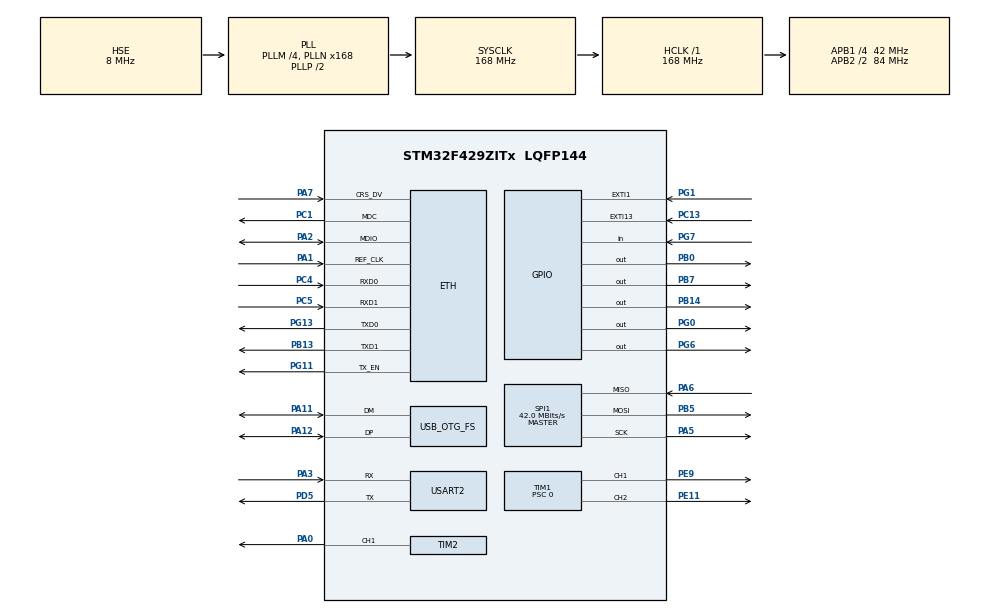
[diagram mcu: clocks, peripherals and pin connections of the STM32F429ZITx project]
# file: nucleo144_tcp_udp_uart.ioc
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ADC1.Channel-12\#ChannelRegularConversion=ADC_CHANNEL_TEMPSENSOR
ADC1.ClockPrescaler=ADC_CLOCK_SYNC_PCLK_DIV4
ADC1.ContinuousConvMode=DISABLE
ADC1.DMAContinuousRequests=DISABLE
ADC1.DataAlign=ADC_DATAALIGN_RIGHT
ADC1.DiscontinuousConvMode=DISABLE
ADC1.EOCSelection=ADC_EOC_SINGLE_CONV
ADC1.EnableAnalogWatchDog=false
ADC1.ExternalTrigConv=ADC_SOFTWARE_START
ADC1.ExternalTrigConvEdge=ADC_EXTERNALTRIGCONVEDGE_NONE
ADC1.InjNumberOfConversion=0
ADC1.NbrOfConversion=1
ADC1.NbrOfConversionFlag=1
ADC1.Rank-12\#ChannelRegularConversion=1
ADC1.Resolution=ADC_RESOLUTION_12B
ADC1.SamplingTime-12\#ChannelRegularConversion=ADC_SAMPLETIME_3CYCLES
ADC1.ScanConvMode=DISABLE
ADC1.master=1
Dma.ADC1.4.Direction=DMA_PERIPH_TO_MEMORY
Dma.ADC1.4.FIFOMode=DMA_FIFOMODE_DISABLE
Dma.ADC1.4.Instance=DMA2_Stream4
Dma.ADC1.4.MemDataAlignment=DMA_MDATAALIGN_HALFWORD
Dma.ADC1.4.MemInc=DMA_MINC_ENABLE
Dma.ADC1.4.Mode=DMA_NORMAL
Dma.ADC1.4.PeriphDataAlignment=DMA_PDATAALIGN_HALFWORD
Dma.ADC1.4.PeriphInc=DMA_PINC_DISABLE
Dma.ADC1.4.Priority=DMA_PRIORITY_LOW
Dma.Request0=SPI1_TX
Dma.Request1=SPI1_RX
Dma.Request2=USART2_RX
Dma.Request3=USART2_TX
Dma.Request4=ADC1
Dma.SPI1_RX.1.Direction=DMA_PERIPH_TO_MEMORY
Dma.SPI1_RX.1.FIFOMode=DMA_FIFOMODE_ENABLE
Dma.SPI1_RX.1.FIFOThreshold=DMA_FIFO_THRESHOLD_FULL
Dma.SPI1_RX.1.Instance=DMA2_Stream0
Dma.SPI1_RX.1.MemBurst=DMA_MBURST_SINGLE
Dma.SPI1_RX.1.MemDataAlignment=DMA_MDATAALIGN_BYTE
Dma.SPI1_RX.1.MemInc=DMA_MINC_ENABLE
Dma.SPI1_RX.1.Mode=DMA_NORMAL
Dma.SPI1_RX.1.PeriphBurst=DMA_PBURST_SINGLE
Dma.SPI1_RX.1.PeriphDataAlignment=DMA_PDATAALIGN_BYTE
Dma.SPI1_RX.1.PeriphInc=DMA_PINC_DISABLE
Dma.SPI1_RX.1.Priority=DMA_PRIORITY_HIGH
Dma.SPI1_TX.0.Direction=DMA_MEMORY_TO_PERIPH
Dma.SPI1_TX.0.FIFOMode=DMA_FIFOMODE_ENABLE
Dma.SPI1_TX.0.FIFOThreshold=DMA_FIFO_THRESHOLD_FULL
Dma.SPI1_TX.0.Instance=DMA2_Stream3
Dma.SPI1_TX.0.MemBurst=DMA_MBURST_SINGLE
Dma.SPI1_TX.0.MemDataAlignment=DMA_MDATAALIGN_BYTE
Dma.SPI1_TX.0.MemInc=DMA_MINC_ENABLE
Dma.SPI1_TX.0.Mode=DMA_NORMAL
Dma.SPI1_TX.0.PeriphBurst=DMA_PBURST_SINGLE
Dma.SPI1_TX.0.PeriphDataAlignment=DMA_PDATAALIGN_BYTE
Dma.SPI1_TX.0.PeriphInc=DMA_PINC_DISABLE
Dma.SPI1_TX.0.Priority=DMA_PRIORITY_HIGH
Dma.USART2_RX.2.Direction=DMA_PERIPH_TO_MEMORY
Dma.USART2_RX.2.FIFOMode=DMA_FIFOMODE_DISABLE
Dma.USART2_RX.2.Instance=DMA1_Stream5
Dma.USART2_RX.2.MemDataAlignment=DMA_MDATAALIGN_BYTE
Dma.USART2_RX.2.MemInc=DMA_MINC_ENABLE
Dma.USART2_RX.2.Mode=DMA_CIRCULAR
Dma.USART2_RX.2.PeriphDataAlignment=DMA_PDATAALIGN_BYTE
Dma.USART2_RX.2.PeriphInc=DMA_PINC_DISABLE
Dma.USART2_RX.2.Priority=DMA_PRIORITY_LOW
Dma.USART2_TX.3.Direction=DMA_MEMORY_TO_PERIPH
Dma.USART2_TX.3.FIFOMode=DMA_FIFOMODE_DISABLE
Dma.USART2_TX.3.Instance=DMA1_Stream6
Dma.USART2_TX.3.MemDataAlignment=DMA_MDATAALIGN_BYTE
Dma.USART2_TX.3.MemInc=DMA_MINC_ENABLE
Dma.USART2_TX.3.Mode=DMA_NORMAL
Dma.USART2_TX.3.PeriphDataAlignment=DMA_PDATAALIGN_BYTE
Dma.USART2_TX.3.PeriphInc=DMA_PINC_DISABLE
Dma.USART2_TX.3.Priority=DMA_PRIORITY_LOW
ETH.MediaInterface=ETH_MEDIA_INTERFACE_RMII
ETH.PhyAddress=0
FREERTOS.BinarySemaphores01=myBinarySem01_SPI1T,Dynamic,NULL;myBinarySem02_USART2T,Dynamic,NULL;myBinarySem03_USART2R,Dynamic,NULL
FREERTOS.Tasks01=defaultTask,0,256,StartDefaultTask,Default,NULL,Dynamic,NULL,NULL;myTask02,2,128,StartTask02,Default,NULL,Dynamic,NULL,NULL;myTask03,-3,512,StartTask03,Default,NULL,Dynamic,NULL,NULL;myTask04,-3,128,StartTask04,Default,NULL,Dynamic,NULL,NULL
FREERTOS.configMINIMAL_STACK_SIZE=128
LWIP.GATEWAY_ADDRESS=192.168.003.001
LWIP.IP_ADDRESS=192.168.003.220
LWIP.LWIP_DHCP=0
LWIP.LWIP_NETIF_LINK_CALLBACK=1
LWIP.LWIP_TFTP=1
LWIP.NETMASK_ADDRESS=255.255.255.000
LWIP.TFTP_MAX_FILENAME_LEN=40
LWIP.Version=v2.0.0_Cube
Mcu.Family=STM32F4
Mcu.Name=STM32F429ZITx
Mcu.Package=LQFP144
NVIC.DMA1_Stream5_IRQn=true\:5\:0\:false\:false\:true\:true\:false
NVIC.DMA1_Stream6_IRQn=true\:5\:0\:false\:false\:true\:true\:false
NVIC.DMA2_Stream0_IRQn=true\:5\:0\:false\:false\:true\:true\:false
NVIC.DMA2_Stream3_IRQn=true\:5\:0\:false\:false\:true\:true\:false
NVIC.DMA2_Stream4_IRQn=true\:5\:0\:false\:false\:true\:true\:false
NVIC.ETH_IRQn=true\:5\:0\:false\:false\:true\:true\:false
NVIC.EXTI1_IRQn=true\:5\:0\:false\:false\:true\:true\:true
NVIC.OTG_FS_IRQn=true\:5\:0\:false\:false\:true\:true\:false
NVIC.PriorityGroup=NVIC_PRIORITYGROUP_4
NVIC.SPI1_IRQn=true\:5\:0\:false\:false\:true\:true\:true
NVIC.USART2_IRQn=true\:5\:0\:false\:false\:true\:true\:true
PA0/WKUP.Signal=S_TIM2_CH1_ETR
PA1.GPIO_Mode=GPIO_MODE_AF_PP
PA1.GPIO_PuPd=GPIO_NOPULL
PA1.GPIO_Speed=GPIO_SPEED_FREQ_VERY_HIGH
PA1.Mode=RMII
PA1.Signal=ETH_REF_CLK
PA10.GPIO_Mode=GPIO_MODE_AF_PP
PA10.GPIO_PuPd=GPIO_NOPULL
PA10.GPIO_Speed=GPIO_SPEED_FREQ_VERY_HIGH
PA10.Signal=USB_OTG_FS_ID
PA11.GPIO_Mode=GPIO_MODE_AF_PP
PA11.GPIO_PuPd=GPIO_NOPULL
PA11.GPIO_Speed=GPIO_SPEED_FREQ_VERY_HIGH
PA11.Mode=Device_Only
PA11.Signal=USB_OTG_FS_DM
PA12.GPIO_Mode=GPIO_MODE_AF_PP
PA12.GPIO_PuPd=GPIO_NOPULL
PA12.GPIO_Speed=GPIO_SPEED_FREQ_VERY_HIGH
PA12.Mode=Device_Only
PA12.Signal=USB_OTG_FS_DP
PA13.Mode=Serial_Wire
PA13.Signal=SYS_JTMS-SWDIO
PA14.Mode=Serial_Wire
PA14.Signal=SYS_JTCK-SWCLK
PA2.GPIO_Mode=GPIO_MODE_AF_PP
PA2.GPIO_PuPd=GPIO_NOPULL
PA2.GPIO_Speed=GPIO_SPEED_FREQ_VERY_HIGH
PA2.Mode=RMII
PA2.Signal=ETH_MDIO
PA3.Mode=Asynchronous
PA3.Signal=USART2_RX
PA5.Mode=Full_Duplex_Master
PA5.Signal=SPI1_SCK
PA6.Mode=Full_Duplex_Master
PA6.Signal=SPI1_MISO
PA7.GPIO_Mode=GPIO_MODE_AF_PP
PA7.GPIO_PuPd=GPIO_NOPULL
PA7.GPIO_Speed=GPIO_SPEED_FREQ_VERY_HIGH
PA7.Mode=RMII
PA7.Signal=ETH_CRS_DV
PA8.GPIO_Mode=GPIO_MODE_AF_PP
PA8.GPIO_PuPd=GPIO_NOPULL
PA8.GPIO_Speed=GPIO_SPEED_FREQ_VERY_HIGH
PA8.Signal=USB_OTG_FS_SOF
PA9.GPIO_Mode=GPIO_MODE_INPUT
PA9.GPIO_PuPd=GPIO_NOPULL
PA9.Signal=USB_OTG_FS_VBUS
PB0.Signal=GPIO_Output
PB13.GPIO_Mode=GPIO_MODE_AF_PP
PB13.GPIO_PuPd=GPIO_NOPULL
PB13.GPIO_Speed=GPIO_SPEED_FREQ_VERY_HIGH
PB13.Mode=RMII
PB13.Signal=ETH_TXD1
PB14.GPIO_ModeDefaultOutputPP=GPIO_MODE_OUTPUT_PP
PB14.GPIO_PuPd=GPIO_NOPULL
PB14.GPIO_Speed=GPIO_SPEED_FREQ_LOW
PB14.PinState=GPIO_PIN_RESET
PB14.Signal=GPIO_Output
PB5.Mode=Full_Duplex_Master
PB5.Signal=SPI1_MOSI
PB7.Signal=GPIO_Output
PC1.GPIO_Mode=GPIO_MODE_AF_PP
PC1.GPIO_PuPd=GPIO_NOPULL
PC1.GPIO_Speed=GPIO_SPEED_FREQ_VERY_HIGH
PC1.Mode=RMII
PC1.Signal=ETH_MDC
PC13.GPIO_ModeDefaultEXTI=GPIO_MODE_IT_RISING
PC13.GPIO_PuPd=GPIO_NOPULL
PC13.Signal=GPXTI13
PC14/OSC32_IN.Mode=LSE-External-Oscillator
PC14/OSC32_IN.Signal=RCC_OSC32_IN
PC15/OSC32_OUT.Mode=LSE-External-Oscillator
PC15/OSC32_OUT.Signal=RCC_OSC32_OUT
PC4.GPIO_Mode=GPIO_MODE_AF_PP
PC4.GPIO_PuPd=GPIO_NOPULL
PC4.GPIO_Speed=GPIO_SPEED_FREQ_VERY_HIGH
PC4.Mode=RMII
PC4.Signal=ETH_RXD0
PC5.GPIO_Mode=GPIO_MODE_AF_PP
PC5.GPIO_PuPd=GPIO_NOPULL
PC5.GPIO_Speed=GPIO_SPEED_FREQ_VERY_HIGH
PC5.Mode=RMII
PC5.Signal=ETH_RXD1
PD5.Mode=Asynchronous
PD5.Signal=USART2_TX
PD8.GPIO_Mode=GPIO_MODE_AF_PP
PD8.GPIO_PuPd=GPIO_NOPULL
PD8.GPIO_Speed=GPIO_SPEED_FREQ_VERY_HIGH
PD8.Signal=USART3_TX
PD9.GPIO_Mode=GPIO_MODE_AF_PP
PD9.GPIO_PuPd=GPIO_NOPULL
PD9.GPIO_Speed=GPIO_SPEED_FREQ_VERY_HIGH
PD9.Signal=USART3_RX
PE11.GPIO_Speed=GPIO_SPEED_FREQ_HIGH
PE11.Signal=S_TIM1_CH2
PE9.GPIO_PuPd=GPIO_PULLUP
PE9.GPIO_Speed=GPIO_SPEED_FREQ_HIGH
PE9.Signal=S_TIM1_CH1
PG0.Signal=GPIO_Output
PG1.GPIO_ModeDefaultEXTI=GPIO_MODE_IT_RISING
PG1.Signal=GPXTI1
PG11.GPIO_Mode=GPIO_MODE_AF_PP
PG11.GPIO_PuPd=GPIO_NOPULL
PG11.GPIO_Speed=GPIO_SPEED_FREQ_VERY_HIGH
PG11.Mode=RMII
PG11.Signal=ETH_TX_EN
PG13.GPIO_Mode=GPIO_MODE_AF_PP
PG13.GPIO_PuPd=GPIO_NOPULL
PG13.GPIO_Speed=GPIO_SPEED_FREQ_VERY_HIGH
PG13.Mode=RMII
PG13.Signal=ETH_TXD0
PG6.GPIO_ModeDefaultOutputPP=GPIO_MODE_OUTPUT_PP
PG6.GPIO_PuPd=GPIO_NOPULL
PG6.GPIO_Speed=GPIO_SPEED_FREQ_LOW
PG6.PinState=GPIO_PIN_RESET
PG6.Signal=GPIO_Output
PG7.GPIO_Mode=GPIO_MODE_INPUT
PG7.GPIO_PuPd=GPIO_NOPULL
PG7.Signal=GPIO_Input
PH0/OSC_IN.Mode=HSE-External-Oscillator
PH0/OSC_IN.Signal=RCC_OSC_IN
PH1/OSC_OUT.Mode=HSE-External-Oscillator
PH1/OSC_OUT.Signal=RCC_OSC_OUT
ProjectManager.HeapSize=0x200
ProjectManager.StackSize=0x400
ProjectManager.TargetToolchain=SW4STM32
RCC.48MHZClocksFreq_Value=48000000
RCC.AHBFreq_Value=168000000
RCC.APB1CLKDivider=RCC_HCLK_DIV4
RCC.APB1Freq_Value=42000000
RCC.APB1TimFreq_Value=84000000
RCC.APB2CLKDivider=RCC_HCLK_DIV2
RCC.APB2Freq_Value=84000000
RCC.APB2TimFreq_Value=168000000
RCC.CortexFreq_Value=168000000
RCC.HCLKFreq_Value=168000000
RCC.HSE_VALUE=8000000
RCC.HSI_VALUE=16000000
RCC.PLLM=4
RCC.PLLMUL=RCC_PLL_MUL9
RCC.PLLN=168
RCC.PLLQ=7
RCC.PRESCALERUSB=RCC_USBCLKSOURCE_PLL_DIV1_5
RCC.RCC_RTC_Clock_Source=RCC_RTCCLKSOURCE_LSE
RCC.RCC_RTC_Clock_SourceVirtual=RCC_RTCCLKSOURCE_LSE
RCC.SYSCLKFreq_VALUE=168000000
RCC.SYSCLKSource=RCC_SYSCLKSOURCE_PLLCLK
RCC.SYSCLKSourceVirtual=RCC_SYSCLKSOURCE_PLLCLK
RCC.USBFreq_Value=48000000
RCC.VCOOutputFreq_Value=336000000
RTC.Alarm=RTC_ALARM_A
SH.S_TIM1_CH1.0=TIM1_CH1,Output Compare1 CH1
SH.S_TIM1_CH2.0=TIM1_CH2,PWM Generation2 CH2
SH.S_TIM2_CH1_ETR.0=TIM2_CH1,Output Compare1 CH1
SPI1.CalculateBaudRate=42.0 MBits/s
SPI1.Direction=SPI_DIRECTION_2LINES
SPI1.Mode=SPI_MODE_MASTER
SPI1.VirtualType=VM_MASTER
TIM1.AutomaticOutput=TIM_AUTOMATICOUTPUT_ENABLE
TIM1.Channel-Output\ Compare1\ CH1=TIM_CHANNEL_1
TIM1.Channel-PWM\ Generation2\ CH2=TIM_CHANNEL_2
TIM1.ClockDivision=TIM_CLOCKDIVISION_DIV1
TIM1.OCFastMode_PWM-PWM\ Generation2\ CH2=TIM_OCFAST_ENABLE
TIM1.OCMode_1=TIM_OCMODE_TOGGLE
TIM1.Period=84
TIM1.Prescaler=0
TIM1.Pulse-PWM\ Generation2\ CH2=15
TIM2.Channel-Output\ Compare1\ CH1=TIM_CHANNEL_1
TIM2.OCMode_1=TIM_OCMODE_TOGGLE
TIM2.Period=42
TIM2.Prescaler=1000
USART2.VirtualMode=VM_ASYNC
USB_DEVICE.CLASS_NAME_FS=CDC
USB_DEVICE.VirtualMode-CDC_FS=Cdc
USB_DEVICE.VirtualModeFS=Cdc_FS
USB_OTG_FS.VirtualMode=Device_Only
VP_ADC1_TempSens_Input.Mode=IN-TempSens
VP_FREERTOS_VS_ENABLE.Mode=Enabled
VP_LWIP_VS_Enabled.Mode=Enabled
VP_RTC_VS_RTC_Activate.Mode=RTC_Enabled
VP_RTC_VS_RTC_Alarm_A_Intern.Mode=Alarm A
VP_RTC_VS_RTC_Calendar.Mode=RTC_Calendar
VP_TIM1_VS_ClockSourceINT.Mode=Internal
VP_TIM2_VS_ClockSourceINT.Mode=Internal
VP_USB_DEVICE_VS_USB_DEVICE_CDC_FS.Mode=CDC_FS
VP_WWDG_VS_WWDG.Mode=WWDG_Activate
WWDG.Counter=127
WWDG.Prescaler=WWDG_PRESCALER_8
WWDG.Window=127
board=NUCLEO-F429ZI

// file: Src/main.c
/**
  ******************************************************************************
  * File Name          : main.c
  * Description        : Main program body
  ******************************************************************************
  * This notice applies to any and all portions of this file
  * that are not between comment pairs USER CODE BEGIN and
  * USER CODE END. Other portions of this file, whether
  * inserted by the user or by software development tools
  * are owned by their respective copyright owners.
  *
  * Copyright (c) 2019 STMicroelectronics International N.V.
  * All rights reserved.
  *
  * Redistribution and use in source and binary forms, with or without
  * modification, are permitted, provided that the following conditions are met:
  *
  * 1. Redistribution of source code must retain the above copyright notice,
  *    this list of conditions and the following disclaimer.
  * 2. Redistributions in binary form must reproduce the above copyright notice,
  *    this list of conditions and the following disclaimer in the documentation
  *    and/or other materials provided with the distribution.
  * 3. Neither the name of STMicroelectronics nor the names of other
  *    contributors to this software may be used to endorse or promote products
  *    derived from this software without specific written permission.
  * 4. This software, including modifications and/or derivative works of this
  *    software, must execute solely and exclusively on microcontroller or
  *    microprocessor devices manufactured by or for STMicroelectronics.
  * 5. Redistribution and use of this software other than as permitted under
  *    this license is void and will automatically terminate your rights under
  *    this license.
  *
  * THIS SOFTWARE IS PROVIDED BY STMICROELECTRONICS AND CONTRIBUTORS "AS IS"
  * AND ANY EXPRESS, IMPLIED OR STATUTORY WARRANTIES, INCLUDING, BUT NOT
  * LIMITED TO, THE IMPLIED WARRANTIES OF MERCHANTABILITY, FITNESS FOR A
  * PARTICULAR PURPOSE AND NON-INFRINGEMENT OF THIRD PARTY INTELLECTUAL PROPERTY
  * RIGHTS ARE DISCLAIMED TO THE FULLEST EXTENT PERMITTED BY LAW. IN NO EVENT
  * SHALL STMICROELECTRONICS OR CONTRIBUTORS BE LIABLE FOR ANY DIRECT, INDIRECT,
  * INCIDENTAL, SPECIAL, EXEMPLARY, OR CONSEQUENTIAL DAMAGES (INCLUDING, BUT NOT
  * LIMITED TO, PROCUREMENT OF SUBSTITUTE GOODS OR SERVICES; LOSS OF USE, DATA,
  * OR PROFITS; OR BUSINESS INTERRUPTION) HOWEVER CAUSED AND ON ANY THEORY OF
  * LIABILITY, WHETHER IN CONTRACT, STRICT LIABILITY, OR TORT (INCLUDING
  * NEGLIGENCE OR OTHERWISE) ARISING IN ANY WAY OUT OF THE USE OF THIS SOFTWARE,
  * EVEN IF ADVISED OF THE POSSIBILITY OF SUCH DAMAGE.
  *
  ******************************************************************************
  */

#include "main.h"
#include "stm32f4xx_hal.h"
#include "cmsis_os.h"
#include "adc.h"
#include "dma.h"
#include "lwip.h"
#include "rtc.h"
#include "spi.h"
#include "tim.h"
#include "usart.h"
#include "usb_device.h"
#include "wwdg.h"
#include "gpio.h"

/* USER CODE BEGIN Includes */
#include "tftpserver.h"
#include "storage.h"
#include "stm32f4xx_hal_rtc_ex.h" //recommended for rtc
#include "rtc.h"
/* USER CODE END Includes */

/* USER CODE BEGIN PV */
/* Private variables ---------------------------------------------------------*/
unsigned long LocalTime = 0; /* this variable is used to create a time reference incremented by 10ms */
/* USER CODE END PV */

void SystemClock_Config(void);
void MX_FREERTOS_Init(void);

/* USER CODE BEGIN PFP */
/* Private function prototypes -----------------------------------------------*/
#define SYSTEMTICK_PERIOD_MS  1
/* USER CODE END PFP */

/* USER CODE BEGIN 0 */
void NVIC_SetVectorTable(unsigned long NVIC_VectTab, unsigned long Offset) {
         SCB->VTOR = NVIC_VectTab | (Offset & (unsigned int)0x1FFFFF80);
 }
void Time_Update(void)
{
  LocalTime += SYSTEMTICK_PERIOD_MS;
}
void printfp(char * c) {
		HAL_UART_Transmit_DMA(&huart2,  c, strlen(c));
}
void printfpd(char * c, unsigned long d) {
	char b[100];
	sprintf(b,c,d);
	printfp(b);
}
/* USER CODE END 0 */

int main(void)
{

  /* USER CODE BEGIN 1 */
	Reset = 0;
	write_cnt = 0;
  /* USER CODE END 1 */

  /* MCU Configuration----------------------------------------------------------*/

  /* Reset of all peripherals, Initializes the Flash interface and the Systick. */
  HAL_Init();

  /* Configure the system clock */
  SystemClock_Config();

  /* Initialize all configured peripherals */
  MX_GPIO_Init();
  MX_DMA_Init();
  MX_SPI1_Init();
  MX_USART2_UART_Init();
  MX_WWDG_Init();
  MX_RTC_Init();
  MX_ADC1_Init();
  MX_TIM1_Init();
  MX_TIM2_Init();

  /* USER CODE BEGIN 2 */
  NVIC_SetVectorTable(NVIC_VectTab_FLASH, USER_FLASH_FIRST_PAGE_ADDRESS);
  HAL_RTCEx_EnableBypassShadow(&hrtc);  //recommended for rtc
  ReadStorage();  //for have property mac
  //HAL_TIM_Base_Start(&htim1);
  HAL_TIM_OC_Start(&htim1, TIM_CHANNEL_1); //output compare mode
  //HAL_TIM_PWM_Start(&htim1, TIM_CHANNEL_1);
  HAL_TIM_PWM_Start(&htim1, TIM_CHANNEL_2); //pwm mode
  HAL_TIM_OC_Start(&htim2, TIM_CHANNEL_1); //output compare mode
  /* USER CODE END 2 */

  /* Call init function for freertos objects (in freertos.c) */
  MX_FREERTOS_Init();

  /* Start scheduler */
  osKernelStart();

  /* We should never get here as control is now taken by the scheduler */

  /* Infinite loop */
  while (1)
  {

  }

}

/** System Clock Configuration
*/
void SystemClock_Config(void)
{

  RCC_OscInitTypeDef RCC_OscInitStruct;
  RCC_ClkInitTypeDef RCC_ClkInitStruct;
  RCC_PeriphCLKInitTypeDef PeriphClkInitStruct;

    /**Configure the main internal regulator output voltage
    */
  __HAL_RCC_PWR_CLK_ENABLE();

  __HAL_PWR_VOLTAGESCALING_CONFIG(PWR_REGULATOR_VOLTAGE_SCALE1);

    /**Initializes the CPU, AHB and APB busses clocks
    */
  RCC_OscInitStruct.OscillatorType = RCC_OSCILLATORTYPE_HSE|RCC_OSCILLATORTYPE_LSE;
  RCC_OscInitStruct.HSEState = RCC_HSE_ON;
  RCC_OscInitStruct.LSEState = RCC_LSE_ON;
  RCC_OscInitStruct.PLL.PLLState = RCC_PLL_ON;
  RCC_OscInitStruct.PLL.PLLSource = RCC_PLLSOURCE_HSE;
  RCC_OscInitStruct.PLL.PLLM = 4;
  RCC_OscInitStruct.PLL.PLLN = 168;
  RCC_OscInitStruct.PLL.PLLP = RCC_PLLP_DIV2;
  RCC_OscInitStruct.PLL.PLLQ = 7;
  if (HAL_RCC_OscConfig(&RCC_OscInitStruct) != HAL_OK)
  {
    _Error_Handler(__FILE__, __LINE__);
  }

    /**Initializes the CPU, AHB and APB busses clocks
    */
  RCC_ClkInitStruct.ClockType = RCC_CLOCKTYPE_HCLK|RCC_CLOCKTYPE_SYSCLK
                              |RCC_CLOCKTYPE_PCLK1|RCC_CLOCKTYPE_PCLK2;
  RCC_ClkInitStruct.SYSCLKSource = RCC_SYSCLKSOURCE_PLLCLK;
  RCC_ClkInitStruct.AHBCLKDivider = RCC_SYSCLK_DIV1;
  RCC_ClkInitStruct.APB1CLKDivider = RCC_HCLK_DIV4;
  RCC_ClkInitStruct.APB2CLKDivider = RCC_HCLK_DIV2;

  if (HAL_RCC_ClockConfig(&RCC_ClkInitStruct, FLASH_LATENCY_5) != HAL_OK)
  {
    _Error_Handler(__FILE__, __LINE__);
  }

  PeriphClkInitStruct.PeriphClockSelection = RCC_PERIPHCLK_RTC;
  PeriphClkInitStruct.RTCClockSelection = RCC_RTCCLKSOURCE_LSE;
  if (HAL_RCCEx_PeriphCLKConfig(&PeriphClkInitStruct) != HAL_OK)
  {
    _Error_Handler(__FILE__, __LINE__);
  }

    /**Configure the Systick interrupt time
    */
  HAL_SYSTICK_Config(HAL_RCC_GetHCLKFreq()/1000);

    /**Configure the Systick
    */
  HAL_SYSTICK_CLKSourceConfig(SYSTICK_CLKSOURCE_HCLK);

  /* SysTick_IRQn interrupt configuration */
  HAL_NVIC_SetPriority(SysTick_IRQn, 15, 0);
}

void _Error_Handler(char * file, int line)
{
  while(1)
  {
  }
}

/************************ (C) COPYRIGHT STMicroelectronics *****END OF FILE****/

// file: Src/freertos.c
/**
  ******************************************************************************
  * File Name          : freertos.c
  * Description        : Code for freertos applications
  ******************************************************************************
  * This notice applies to any and all portions of this file
  * that are not between comment pairs USER CODE BEGIN and
  * USER CODE END. Other portions of this file, whether
  * inserted by the user or by software development tools
  * are owned by their respective copyright owners.
  *
  * Copyright (c) 2019 STMicroelectronics International N.V.
  * All rights reserved.
  *
  * Redistribution and use in source and binary forms, with or without
  * modification, are permitted, provided that the following conditions are met:
  *
  * 1. Redistribution of source code must retain the above copyright notice,
  *    this list of conditions and the following disclaimer.
  * 2. Redistributions in binary form must reproduce the above copyright notice,
  *    this list of conditions and the following disclaimer in the documentation
  *    and/or other materials provided with the distribution.
  * 3. Neither the name of STMicroelectronics nor the names of other
  *    contributors to this software may be used to endorse or promote products
  *    derived from this software without specific written permission.
  * 4. This software, including modifications and/or derivative works of this
  *    software, must execute solely and exclusively on microcontroller or
  *    microprocessor devices manufactured by or for STMicroelectronics.
  * 5. Redistribution and use of this software other than as permitted under
  *    this license is void and will automatically terminate your rights under
  *    this license.
  *
  * THIS SOFTWARE IS PROVIDED BY STMICROELECTRONICS AND CONTRIBUTORS "AS IS"
  * AND ANY EXPRESS, IMPLIED OR STATUTORY WARRANTIES, INCLUDING, BUT NOT
  * LIMITED TO, THE IMPLIED WARRANTIES OF MERCHANTABILITY, FITNESS FOR A
  * PARTICULAR PURPOSE AND NON-INFRINGEMENT OF THIRD PARTY INTELLECTUAL PROPERTY
  * RIGHTS ARE DISCLAIMED TO THE FULLEST EXTENT PERMITTED BY LAW. IN NO EVENT
  * SHALL STMICROELECTRONICS OR CONTRIBUTORS BE LIABLE FOR ANY DIRECT, INDIRECT,
  * INCIDENTAL, SPECIAL, EXEMPLARY, OR CONSEQUENTIAL DAMAGES (INCLUDING, BUT NOT
  * LIMITED TO, PROCUREMENT OF SUBSTITUTE GOODS OR SERVICES; LOSS OF USE, DATA,
  * OR PROFITS; OR BUSINESS INTERRUPTION) HOWEVER CAUSED AND ON ANY THEORY OF
  * LIABILITY, WHETHER IN CONTRACT, STRICT LIABILITY, OR TORT (INCLUDING
  * NEGLIGENCE OR OTHERWISE) ARISING IN ANY WAY OUT OF THE USE OF THIS SOFTWARE,
  * EVEN IF ADVISED OF THE POSSIBILITY OF SUCH DAMAGE.
  *
  ******************************************************************************
  */

#include "FreeRTOS.h"
#include "task.h"
#include "cmsis_os.h"

/* USER CODE BEGIN Includes */

#include "stm32f4xx_hal.h"
#include "lwip/opt.h"
#include "lwip/arch.h"
#include "lwip/opt.h"
#include "lwip/api.h"
#include "lwip.h"
#include "lwip/inet.h"
#include "lwip/sockets.h"
#include "string.h"
#include "spi.h"
#include "usart.h"
#include "adc.h"
#include "tim.h"
#include "rtc.h"

//#include "stm32f4xx_dma.h"
//#include "Trace.h"

#define  MY_UDP_PORT		(7)
/* USER CODE END Includes */

osThreadId defaultTaskHandle;
osThreadId myTask02Handle;
osThreadId myTask03Handle;
osThreadId myTask04Handle;
osSemaphoreId myBinarySem01_SPI1THandle;
osSemaphoreId myBinarySem02_USART2THandle;
osSemaphoreId myBinarySem03_USART2RHandle;

/* USER CODE BEGIN Variables */
//uint8_t testDataToReceiveU[U2_BUFF_SIZE];
//uint16_t u2cnt;
//uint8_t RB;
#define TIME_WAIT_JUMP  (7500)//  (10000)

#define 	NVIC_VectTab_FLASH   ((uint32_t)0x08000000)
typedef  void (*pFunction)(void);
pFunction Jump_To_Application;
uint32_t JumpAddress;
char RcvBuff[RCV_BUFF_SIZE];
char TrBuff[TR_BUFF_SIZE];
unsigned long counter = 0;
//uint8_t flag_rcv = 0;
/* USER CODE END Variables */

void StartDefaultTask(void const * argument);
void StartTask02(void const * argument);
void StartTask03(void const * argument);
void StartTask04(void const * argument);

extern void MX_USB_DEVICE_Init(void);
extern void MX_LWIP_Init(void);
void MX_FREERTOS_Init(void); /* (MISRA C 2004 rule 8.1) */

/* USER CODE BEGIN FunctionPrototypes */
static void udp_thread(void *arg);
extern uint8_t CDC_Transmit_FS(uint8_t* Buf, uint16_t Len);
//static void udp_thread1(void *arg);
void CheckWriteStorage(void) {
	if(write_cnt) write_cnt--;
	if(write_cnt == 1) WriteStorage();
}

#define tV_25   0.76f //1.34f      //  25 °C.
#define tSlope  0.0025f //0.0043f    // du(V) / dt(grad).
#define Vref    3.3f       // ADC (v).

int32_t CalcTemp(uint32_t data){
	int32_t ret;
double temp;
  //ok  temp = (float)data;
     temp = (double) ((double)data * (double)Vref)/(double)4096;
 //    temp = (tV_25-temp)/tSlope + 25;
     temp = (temp - tV_25)/tSlope + 25;
 //    temp = temp * 16;
    // temp = -0.1;
     ret =(int32_t)temp;
return ret; //(int32_t)data;
}
/* USER CODE END FunctionPrototypes */

/* Hook prototypes */

/* Init FreeRTOS */

void MX_FREERTOS_Init(void) {

  /* Create the semaphores(s) */
  /* definition and creation of myBinarySem01_SPI1T */
  osSemaphoreDef(myBinarySem01_SPI1T);
  myBinarySem01_SPI1THandle = osSemaphoreCreate(osSemaphore(myBinarySem01_SPI1T), 1);

  /* definition and creation of myBinarySem02_USART2T */
  osSemaphoreDef(myBinarySem02_USART2T);
  myBinarySem02_USART2THandle = osSemaphoreCreate(osSemaphore(myBinarySem02_USART2T), 1);

  /* definition and creation of myBinarySem03_USART2R */
  osSemaphoreDef(myBinarySem03_USART2R);
  myBinarySem03_USART2RHandle = osSemaphoreCreate(osSemaphore(myBinarySem03_USART2R), 1);

  /* Create the thread(s) */
  /* definition and creation of defaultTask */
  osThreadDef(defaultTask, StartDefaultTask, osPriorityNormal, 0, 256);
  defaultTaskHandle = osThreadCreate(osThread(defaultTask), NULL);

  /* definition and creation of myTask02 */
  osThreadDef(myTask02, StartTask02, osPriorityHigh, 0, 128);
  myTask02Handle = osThreadCreate(osThread(myTask02), NULL);

  /* definition and creation of myTask03 */
  osThreadDef(myTask03, StartTask03, osPriorityIdle, 0, 512);
  myTask03Handle = osThreadCreate(osThread(myTask03), NULL);

  /* definition and creation of myTask04 */
  osThreadDef(myTask04, StartTask04, osPriorityIdle, 0, 128);
  myTask04Handle = osThreadCreate(osThread(myTask04), NULL);

}

/* StartDefaultTask function */
void StartDefaultTask(void const * argument)
{
  /* init code for USB_DEVICE */
  MX_USB_DEVICE_Init();

  /* init code for LWIP */
  MX_LWIP_Init();

  /* USER CODE BEGIN StartDefaultTask */
  ReadStorage();  //for have property ip
  My_ChangeIp();  //need add to remote
   //============================
  struct netconn *conn, *newconn;
      err_t err, accept_err;
      struct netbuf* buf;
      void* data;
      u16_t len;
      err_t recv_err;

      sys_thread_new("udp_thread", udp_thread, NULL, DEFAULT_THREAD_STACKSIZE, osPriorityNormal);

  conn = netconn_new(NETCONN_TCP);
    if (conn != NULL)
    {
        /* Bind connection to well known port number 1000. */
        err = netconn_bind(conn, NULL, 1000);

        if (err == ERR_OK)
        {
            /* Tell connection to go into listening mode. */
            netconn_listen(conn);

            while (1)
            {
                /* Grab new connection. */
                accept_err = netconn_accept(conn, &newconn);

                /* Process the new connection. */
                if (accept_err == ERR_OK)
                {
                    while ((recv_err = netconn_recv(newconn, &buf)) == ERR_OK)
                    {
                        do
                        {
                            netbuf_data(buf, &data, &len);
                            netconn_write(newconn, data, len, NETCONN_COPY);

                        } while (netbuf_next(buf) >= 0);

                        netbuf_delete(buf);
                    }   //while recv

                    /* Close connection and discard connection identifier. */
                    netconn_close(newconn);
                    netconn_delete(newconn);
                }  //if accept_err
 //         	  HAL_GPIO_TogglePin( GPIOB, GPIO_PIN_7);
//          	  HAL_Delay(1000);

            } //wile(1)
        } //if err == err_ok
        else
        {
            netconn_delete(newconn);
            printf(" can not bind TCP netconn");
        }
    }  //in conn != NULL
    else
    {
        printf("can not create TCP netconn");
    }
// to end}

  //============================

 /*
    struct netconn * conn, *newconn;
  err_t err, accept_err;
conn = netconn_new(NETCONN_TCP);
  if(conn != NULL) {
	err = netconn_bind(conn, NULL, 1000);
	if(err == ERR_OK) {
    netconn_listen(conn);
    accept_err = netconn_accept(conn, &newconn);
    if(accept_err == ERR_OK) {
    	while(1) {
    		char buffer[20];
    		static int cntr = 0;
    		sprintf(buffer, "counter = %d\r", cntr++);
    		netconn_write(newconn, (const unsigned char *)buffer, strlen(buffer), NETCONN_COPY);
    		vTaskDelay(1000);
    		osDelay(1);
    	}//whilw
    }//accept_err
	} //err
  }//conn
*/

  /* Infinite loop */
/*
for(;;)
  {
    osDelay(1);
  }
  */
  /* USER CODE END StartDefaultTask */
}

/* StartTask02 function */
void StartTask02(void const * argument)
{
  /* USER CODE BEGIN StartTask02 */
	uint8_t testDataToSend[128];
	uint8_t testDataToReceive[128];

//this maked	myBinarySem01_SPI1THandle = xSemaphoreCreateBinary();

	for (uint8_t i = 0; i < 128; i++)
	{
	    testDataToSend[i] = i + 1;
	}

   osSemaphoreRelease (myBinarySem01_SPI1THandle);
  /* Infinite loop */
  for(;;)
  {
	if(osSemaphoreWait(myBinarySem01_SPI1THandle , 1) == osOK) {
//	if(1) {
//	HAL_SPI_Transmit_DMA(&hspi1, testDataToSend, 128);
	HAL_SPI_TransmitReceive_DMA(&hspi1, testDataToSend, testDataToReceive, 128);
	HAL_GPIO_TogglePin( GPIOB, GPIO_PIN_7);
//	HAL_SPI_Receive_DMA(&hspi1, testDataToReceive, 128);
 //   HAL_Delay(1000);
	}
	//HAL_SPI_Receive_DMA(&hspi1, testDataToReceive, 128);
    osDelay(1);
  }
  /* USER CODE END StartTask02 */
}

/* StartTask03 function */
void StartTask03(void const * argument)
{
  /* USER CODE BEGIN StartTask03 */
	/*
#define TR_SIZE			(2)
	uint8_t testDataToSendU[TR_SIZE];
	uint16_t tmp, i;
	uint16_t cnt_rd = 0;
	uint16_t cnt_bf = 0;
	uint32_t cnt_rcv = 0;
	uint32_t cnt_tr = 0;
	uint32_t cnt_cp = 0;

	for (i = 0; i <  TR_SIZE	; i++)
		{
		    testDataToSendU[i] = i + 50;
		}

	uint8_t * testDataToReceiveU = malloc(U2_BUFF_SIZE);
	memset(testDataToReceiveU, 0, U2_BUFF_SIZE);
	memset(RcvBuff, 0 ,RCV_BUFF_SIZE);
	uint8_t flag_rcv = 0;
	uint16_t cnt = 0;
	uint32_t tcnt = 0;
	uint16_t rsize;
	uint16_t rsize_old = U2_BUFF_SIZE;
	char Buf[25];
    osSemaphoreRelease (myBinarySem02_USART2THandle);
    HAL_UART_Receive_DMA(&huart2,testDataToReceiveU, U2_BUFF_SIZE); //start receive
   for(;;)  {

		if(osSemaphoreWait(myBinarySem03_USART2RHandle , 1) == osOK) {
				cnt_rcv++;
			flag_rcv ++;
			}
	  rsize = (uint16_t) __HAL_DMA_GET_COUNTER(huart2.hdmarx);
   if(rsize < rsize_old) {
	   tmp = rsize_old - rsize;
   } else if(rsize > rsize_old) {
	   tmp = rsize_old + (uint16_t)U2_BUFF_SIZE - rsize;
   } else if(flag_rcv) {
	   tmp = rsize;
	   flag_rcv = 0;
   }
   rsize_old =  rsize;
	  if(tmp > 0) {
			HAL_GPIO_TogglePin( GPIOB, GPIO_PIN_14); //red
		  //if(tmp < 0) tmp += 128;
		  for(i = 0; i < tmp; i++) {
				Receive(testDataToReceiveU[cnt_bf]);
				testDataToReceiveU[cnt_bf] = 0;  //clear data
//			  testrdata[cnt_rd++] = testDataToReceiveU[cnt_bf++];
				cnt_bf++;
			  if(cnt_rd >= RD_SIZE) 		cnt_rd = 0;
			if(cnt_bf >= U2_BUFF_SIZE) 	cnt_bf = 0;
		  }
		  tmp = 0;
		  cnt_cp++;
	  } //tcnt
	  */

	  /*
		if(osSemaphoreWait(myBinarySem02_USART2THandle , 1) == osOK) {
		 cnt_tr++;
		 HAL_UART_Transmit_DMA(&huart2,testDataToSendU, TR_SIZE);
		 HAL_GPIO_TogglePin( GPIOB, GPIO_PIN_0);  //green
		 HAL_Delay(50);
		}
		*/
	  memset(RcvBuff, 0 ,RCV_BUFF_SIZE);
	//  ReadStorage();  //for have property ip
	//  My_ChangeIp();  //need add to remote
	  uint8_t * testDataToReceiveU = malloc(U2_BUFF_SIZE);
	  memset(testDataToReceiveU, 0, U2_BUFF_SIZE);
	  uint16_t cnt = 0;
	  uint32_t tcnt = 0;
	  uint16_t rsize;
	  uint16_t rsize_old = U2_BUFF_SIZE;
	  uint16_t tmp, i;
	  uint16_t cnt_rd = 0;
	  uint16_t cnt_bf = 0;
	 // uint32_t cnt_rcv = 0;
	 // uint32_t cnt_tr = 0;
	  uint32_t cnt_cp = 0;
	  uint32_t dtemp = 0;
	  int32_t temp = 0;
	//  flag_rcv = 0;
	  uint32_t tmp1;
	  char* Buf = malloc(25);
	  osSemaphoreRelease (myBinarySem02_USART2THandle);
	  HAL_UART_Receive_DMA(&huart2,testDataToReceiveU, U2_BUFF_SIZE); //start receive
	 //  IAP_tftpd_init(); //t
	  /* Infinite loop */
	  for(;;)
	  {
		//	if(osSemaphoreWait(myBinarySem03_USART2RHandle , 1) == osOK) {
				//	cnt_rcv++;
			//		flag_rcv ++;
			//		}
			 rsize = (uint16_t) __HAL_DMA_GET_COUNTER(huart2.hdmarx);
			 if(rsize < rsize_old) {
				   tmp = rsize_old - rsize;
			   } else if(rsize > rsize_old) {
				   tmp = rsize_old + (uint16_t)U2_BUFF_SIZE - rsize;
		//	   } else if(flag_rcv) {
			   }
			  // else if(flag_rcv > 1) {
				//   tmp = rsize;
			//	   tmp = 0;
			//	   flag_rcv = 0;
			 //  }
			   rsize_old =  rsize;
				  if(tmp > 0) {
						HAL_GPIO_TogglePin( GPIOB, GPIO_PIN_14); //red
					  for(i = 0; i < tmp; i++) {
							Receive(testDataToReceiveU[cnt_bf]);
							testDataToReceiveU[cnt_bf] = 0;  //clear data
						//	testrdata[cnt_rd++] = testDataToReceiveU[cnt_bf++];
							cnt_bf++;
						if(cnt_rd >= RD_SIZE) 		cnt_rd = 0;  //do not need
						if(cnt_bf >= U2_BUFF_SIZE) 	cnt_bf = 0;
					  }
					  tmp = 0;
					  cnt_cp++;
				  } //tcnt
	  counter++;
	  if(!(counter % 500)) {
	//   if(counter > TIME_WAIT_JUMP) {
	//	  HAL_UART_DMAStop(&huart2);
	//	  StartApp();
	 //  }
		 // MyReadPhy(PHY_SR, tmp1);  //0x41
	//	  MyReadPhy(0, tmp1);  //0x3000 0x1100
	//	  MyReadPhy(1, tmp1);  //0x7809 0x782d view link! 0x4 bit
		 // printfpd("\n\r> %d", counter / 500);
		//  HAL_Delay(100);
		  //HAL_StatusTypeDef HAL_ADC_Start_DMA(ADC_HandleTypeDef* hadc, uint32_t* pData, uint32_t Length)
		  temp = CalcTemp(dtemp);
	//t	  printfpd("\n\r> %d", temp);
		  HAL_ADC_Stop_DMA(&hadc1);
		  HAL_ADC_Start_DMA(&hadc1, &dtemp, sizeof(dtemp));
		  HAL_GPIO_TogglePin( GPIOG, GPIO_PIN_0); //to use interrupt
		  CheckWriteStorage();
		  MyCheckLink();
	  }
	//	  CheckWriteStorage();
	//	  MyCheckLink();
		  osDelay(1);
  } //for
  /* USER CODE END StartTask03 */
}

/* StartTask04 function */
void StartTask04(void const * argument)
{
  /* USER CODE BEGIN StartTask04 */
	 RTC_TimeTypeDef RTime;
	 unsigned long cnt = 0;
	 char Buff[20];
  /* Infinite loop */
  for(;;)
  {
   cnt++;
   if(cnt > 1000) {
   HAL_RTC_GetTime(&hrtc, &RTime, RTC_FORMAT_BIN); // RTC_FORMAT_BCD);
   sprintf(Buff, "\n\r%02d:%02d:%02d ", RTime.Hours, RTime.Minutes, RTime.Seconds);
   printfp(Buff);
   cnt = 0;
   }
    osDelay(1);
  }
  /* USER CODE END StartTask04 */
}

/* USER CODE BEGIN Application */
/*
static void udp_thread1(void *arg)
{
	err_t err, recv_err;
	  struct netconn *conn;
	  struct netbuf *buf;
	  ip_addr_t *addr;
	  unsigned short port;
	  unsigned short my_port = MY_UDP_PORT;
	  void* data;  //my
	  u16_t len;//my
	  conn = netconn_new(NETCONN_UDP);
	  if (conn!= NULL) {
	    err = netconn_bind(conn, IP_ADDR_ANY, my_port);
      if (err == ERR_OK) {
    	  for(;;)  {
    		  recv_err = netconn_recv(conn, &buf);
    	//	  buf = netconn_recv(conn);
    		  if (recv_err == ERR_OK)  {
    	//	  if (buf != NULL)  {
    			  addr = netbuf_fromaddr(buf);
    			  port = netbuf_fromport(buf);
    			  netconn_connect(conn, addr, port);
    	//		  buf->addr = 0;//NULL;
    			  buf->addr.addr = 0;
    	//		  netbuf_data(buf, &data, &len);  //my
    	//		  netconn_write(conn, data, len, NETCONN_COPY);
    			  netconn_send(conn,buf);
    			  netbuf_delete(buf);
    			//  netconn_close(conn);
    		//	  netconn_delete(conn);
    		//	  conn = netconn_new(NETCONN_UDP);
    		//	  err = netconn_bind(conn, IP_ADDR_ANY, my_port);
    //			  osDelay(1);
    		  }
    		  osDelay(1);
    	   }
        }
	    else  {
	    		netconn_delete(conn);
	    	  }
	  }//conn
}
*/
static void udp_thread(void *arg)
{
//  struct_out *qstruct;
 // struct_sock *arg_sock;
  int sock, ret;
  struct sockaddr_in address, remotehost;
  socklen_t sockaddrsize;
//  arg_sock = (struct_sock*) arg;
  int buflen = 150;
  unsigned char recv_buffer[150];
  sockaddrsize = sizeof(remotehost);
  if ((sock = socket(AF_INET,SOCK_DGRAM, IPPROTO_UDP)) >= 0)
  {
    address.sin_family = AF_INET;
    address.sin_port = htons(MY_UDP_PORT);
    address.sin_addr.s_addr = INADDR_ANY;
    if (bind(sock, (struct sockaddr *)&address, sizeof (address)) ==  0)
    {
      for(;;)
      {
        ret = recvfrom( sock,recv_buffer, buflen, 0, (struct sockaddr *)&remotehost, &sockaddrsize);
        if(ret > 0)
        {
      //    qstruct = osMailAlloc(strout_Queue, osWaitForever);
      //    qstruct->x_pos = 0;
      //    qstruct->y_pos = arg_sock->y_pos;
      //    qstruct->sfont = Font24;
          recv_buffer[ret-1] = 0;
        //  sprintf(qstruct->str,"%5u %-20s", ntohs(remotehost.sin_port), (char*)recv_buffer);
        //  osMailPut(strout_Queue, qstruct);
        //  osDelay(2);
        //  sprintf(qstruct->str, "%7u",xPortGetMinimumEverFreeHeapSize());
        //  qstruct->y_pos = arg_sock->y_pos + 40;
        //  osMailPut(strout_Queue, qstruct);
        //  osMailFree(strout_Queue, qstruct);
          strcat((char*)recv_buffer,"\n");
          sendto(sock,recv_buffer,strlen((char*)recv_buffer),0,(struct sockaddr *)&remotehost, sockaddrsize);
        }
      }
    }
    else
    {
      close(sock);
      return;
    }
  }
}

void HAL_SPI_TxRxHalfCpltCallback(SPI_HandleTypeDef *hspi)
{
  /* Prevent unused argument(s) compilation warning */
  UNUSED(hspi);
//  osSemaphoreRelease (myBinarySem01_SPI1THandle);
  /* NOTE : This function should not be modified, when the callback is needed,
            the HAL_SPI_TxRxHalfCpltCallback() should be implemented in the user file
  */
}

void HAL_SPI_TxCpltCallback(SPI_HandleTypeDef *hspi)
{
  /* Prevent unused argument(s) compilation warning */

  UNUSED(hspi);
//  hspi->State = HAL_SPI_STATE_READY;
// osSemaphoreRelease (myBinarySem01_SPI1THandle);
  /* NOTE : This function should not be modified, when the callback is needed,
            the HAL_SPI_TxCpltCallback should be implemented in the user file
  */
}

void HAL_SPI_RxCpltCallback(SPI_HandleTypeDef *hspi)
{
  /* Prevent unused argument(s) compilation warning */
  UNUSED(hspi);
  /* NOTE : This function should not be modified, when the callback is needed,
            the HAL_SPI_RxCpltCallback should be implemented in the user file
  */
}

/* USER CODE END Application */

/************************ (C) COPYRIGHT STMicroelectronics *****END OF FILE****/
